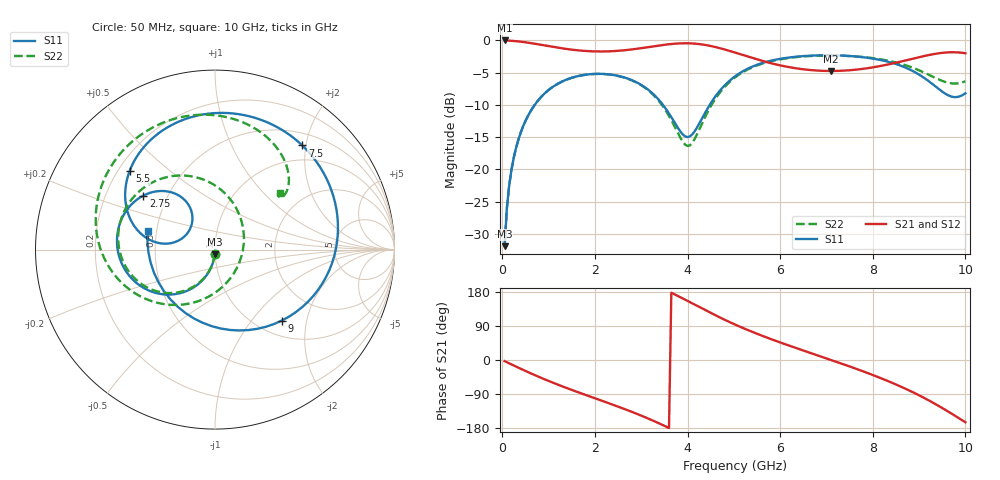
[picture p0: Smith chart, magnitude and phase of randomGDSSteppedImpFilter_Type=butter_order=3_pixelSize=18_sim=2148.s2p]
! freq	dB(S11)	phase(S11)	dB(S12)	phase(S12)
!  dB(S21)	phase(S21)	dB(S22)	phase(S22)
!S-par simulation data
#  GHz  S  DB  R 50
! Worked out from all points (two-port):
!   200 points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, 50 MHz to 10 GHz, reference 50 ohm
!   highest |S21| = -0.01 dB at 50 MHz (marker M1); lowest = -4.7 dB at 7.1 GHz (marker M2)
!   |S21| within 3 dB of the highest: start of sweep to 5.533 GHz; 8.764 GHz to end of sweep
!   lowest |S11| = -31.9 dB at 50 MHz (marker M3), VSWR 1.05, Z = 49.8 - j2.53 ohm
!   |S11| at or under -10 dB: start of sweep to 699.2 MHz; 3.47 GHz to 4.48 GHz (1.01 GHz wide, 25.4 % of centre)
!   |S22| runs from -31.9 to -2.3 dB; largest |S21 - S12| = 0
!   S11 on the Smith chart (normalised r, x): 50 MHz: 1.00, -0.05; 2.75 GHz: 0.37, +0.29; 5.5 GHz: 0.25, +0.37; 7.5 GHz: 0.71, +1.93; 9 GHz: 1.28, -1.44; 10 GHz: 0.45, +0.11
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0.05  -31.90 -93.1  -0.01 -3.0  -0.01 -3.0  -31.90 -93.2
0.1  -25.90 -96.1  -0.02 -5.9  -0.02 -5.9  -25.91 -96.4
0.2  -19.98 -102.1  -0.06 -11.8  -0.06 -11.8  -19.98 -102.5
0.5  -12.49 -118.9  -0.29 -28.9  -0.29 -28.9  -12.49 -120.0
1.05  -7.41 -146.9  -0.95 -57.8  -0.95 -57.8  -7.41 -149.5
1.75  -5.37 -177.9  -1.61 -90.1  -1.61 -90.1  -5.38 176.8
2.25  -5.23 162.2  -1.71 -111.9  -1.71 -111.9  -5.25 153.4
2.75  -6.02 143.0  -1.44 -134.6  -1.44 -134.6  -6.06 127.8
3.4  -9.38 122.2  -0.77 -168.0  -0.77 -168.0  -9.57 83.6
4.05  -14.88 152.1  -0.45 152.7  -0.45 152.7  -16.28 -28.2
4.55  -9.21 172.5  -0.94 121.2  -0.94 121.2  -9.62 -114.8
5.05  -5.44 156.2  -1.94 92.3  -1.94 92.3  -5.61 -154.7
5.5  -3.78 137.2  -2.94 69.2  -2.94 69.2  -3.89 179.3
6.05  -2.80 114.0  -3.94 44.2  -3.94 44.2  -2.87 153.4
6.7  -2.35 86.4  -4.62 16.7  -4.62 16.7  -2.40 127.1
7.1  -2.31 68.8  -4.74 0.1  -4.74 0.1  -2.34 111.9
7.5  -2.42 50.0  -4.62 -17.0  -4.62 -17.0  -2.42 97.2
8.35  -3.34 3.2  -3.70 -56.7  -3.70 -56.7  -3.17 66.5
9  -5.30 -46.7  -2.60 -93.2  -2.60 -93.2  -4.63 45.7
9.5  -7.94 -107.1  -1.93 -126.7  -1.93 -126.7  -6.28 38.1
9.75  -8.78 -149.8  -1.83 -145.1  -1.83 -145.1  -6.69 39.2
10  -8.21 164.8  -1.99 -164.3  -1.99 -164.3  -6.33 40.9
